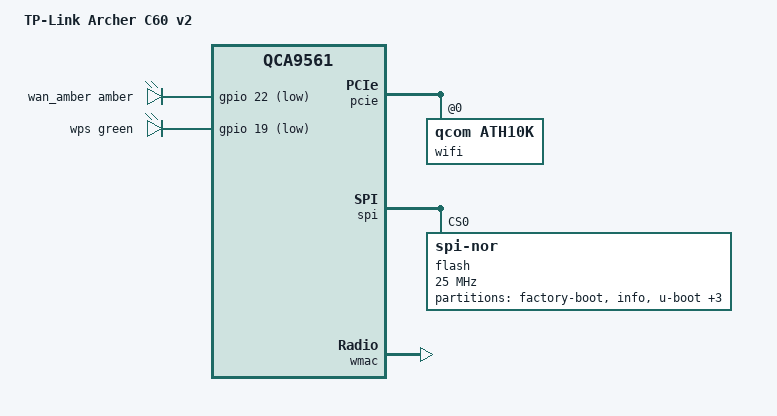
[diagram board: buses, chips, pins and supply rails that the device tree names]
// SPDX-License-Identifier: GPL-2.0-or-later OR MIT

#include <dt-bindings/leds/common.h>

#include "qca9561_tplink_archer-c6x.dtsi"

/ {
	compatible = "tplink,archer-c60-v2", "qca,qca9561";
	model = "TP-Link Archer C60 v2";

	aliases {
		label-mac-device = &eth1;
	};
};

&leds {
	wan_amber {
		function = LED_FUNCTION_WAN;
		color = <LED_COLOR_ID_AMBER>;
		gpios = <&gpio 22 GPIO_ACTIVE_LOW>;
	};

	wps {
		function = LED_FUNCTION_WPS;
		color = <LED_COLOR_ID_GREEN>;
		gpios = <&gpio 19 GPIO_ACTIVE_LOW>;
	};
};

&pcie {
	wifi@0,0 {
		compatible = "qcom,ath10k";
		reg = <0x0000 0 0 0 0>;
		nvmem-cells = <&precal_art_5000>, <&macaddr_info_8 (-1)>;
		nvmem-cell-names = "pre-calibration", "mac-address";
	};
};

&spi {
	status = "okay";

	flash@0 {
		compatible = "jedec,spi-nor";
		reg = <0>;
		spi-max-frequency = <25000000>;

		partitions {
			compatible = "fixed-partitions";
			#address-cells = <1>;
			#size-cells = <1>;

			partition@0 {
				label = "factory-boot";
				reg = <0x000000 0x01fb00>;
				read-only;
			};

			partition@1fb00 {
				label = "info";
				reg = <0x01fb00 0x000500>;
				read-only;

				nvmem-layout {
					compatible = "fixed-layout";
					#address-cells = <1>;
					#size-cells = <1>;

					macaddr_info_8: macaddr@8 {
						compatible = "mac-base";
						reg = <0x8 0x6>;
						#nvmem-cell-cells = <1>;
					};
				};
			};

			partition@20000 {
				label = "u-boot";
				reg = <0x020000 0x010000>;
				read-only;
			};

			partition@30000 {
				compatible = "denx,uimage";
				label = "firmware";
				reg = <0x030000 0x7a0000>;
			};

			partition@7d0000 {
				label = "tplink";
				reg = <0x7d0000 0x020000>;
				read-only;
			};

			partition@7f0000 {
				label = "art";
				reg = <0x7f0000 0x010000>;
				read-only;

				nvmem-layout {
					compatible = "fixed-layout";
					#address-cells = <1>;
					#size-cells = <1>;

					cal_art_1000: calibration@1000 {
						reg = <0x1000 0x440>;
					};

					precal_art_5000: pre-calibration@5000 {
						reg = <0x5000 0x2f20>;
					};
				};
			};
		};
	};
};

&eth0 {
	nvmem-cells = <&macaddr_info_8 1>;
	nvmem-cell-names = "mac-address";
};

&eth1 {
	nvmem-cells = <&macaddr_info_8 0>;
	nvmem-cell-names = "mac-address";
};

&wmac {
	nvmem-cells = <&macaddr_info_8 0>, <&cal_art_1000>;
	nvmem-cell-names = "mac-address", "calibration";
};
